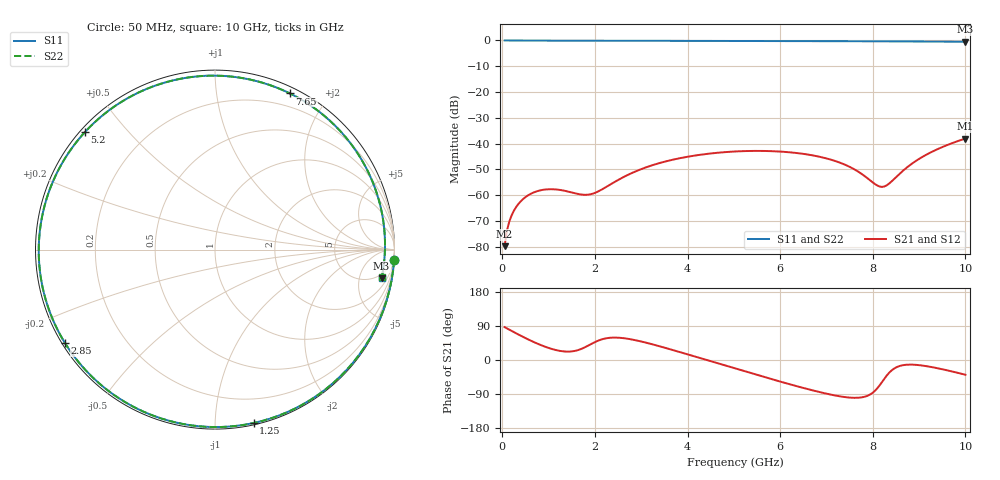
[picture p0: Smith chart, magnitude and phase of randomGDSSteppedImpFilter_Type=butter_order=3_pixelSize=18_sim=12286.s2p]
! freq	dB(S11)	phase(S11)	dB(S12)	phase(S12)
!  dB(S21)	phase(S21)	dB(S22)	phase(S22)
!S-par simulation data
#  GHz  S  DB  R 50
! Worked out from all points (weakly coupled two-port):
!   200 points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, 50 MHz to 10 GHz, reference 50 ohm
!   highest |S21| = -38.03 dB at 10 GHz (marker M1); lowest = -79.8 dB at 50 MHz (marker M2)
!   lowest |S11| = -0.5 dB at 10 GHz (marker M3), VSWR 33.32, Z = 185 - j521 ohm
!   |S11| at or under -10 dB: nowhere
!   |S22| runs from -0.5 to 0.0 dB; largest |S21 - S12| = 0
!   S11 on the Smith chart (normalised r, x): 50 MHz: 0, -34; 1.25 GHz: 0.01, -1.25; 2.85 GHz: 0.01, -0.29; 5.2 GHz: 0.01, +0.38; 7.65 GHz: 0.06, +1.59; 10 GHz: 4, -10
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0.05  -0.00 -3.4  -79.78 86.7  -79.78 86.7  -0.00 -3.4
0.1  -0.01 -6.7  -73.79 83.4  -73.79 83.4  -0.01 -6.7
0.15  -0.01 -10.0  -70.32 80.1  -70.32 80.1  -0.01 -10.0
0.25  -0.03 -16.7  -66.04 73.6  -66.04 73.6  -0.03 -16.6
0.4  -0.04 -26.4  -62.35 64.0  -62.35 64.0  -0.04 -26.4
0.75  -0.06 -48.5  -58.48 43.6  -58.48 43.6  -0.06 -48.5
1.25  -0.09 -77.5  -57.98 23.9  -57.98 23.9  -0.09 -77.5
1.75  -0.11 -102.8  -59.84 31.6  -59.84 31.6  -0.11 -102.8
2  -0.12 -114.2  -59.12 47.2  -59.12 47.2  -0.11 -114.2
2.3  -0.12 -127.0  -56.22 58.3  -56.22 58.3  -0.12 -127.0
2.85  -0.13 -148.1  -51.00 52.9  -51.00 52.9  -0.13 -148.1
3.4  -0.15 -167.1  -47.53 36.1  -47.53 36.1  -0.15 -167.1
4.2  -0.17 167.6  -44.53 7.7  -44.53 7.7  -0.17 167.7
5.05  -0.20 142.4  -43.04 -23.2  -43.04 -23.2  -0.20 142.4
5.2  -0.21 138.0  -42.93 -28.6  -42.93 -28.6  -0.21 138.0
6  -0.24 114.5  -43.10 -56.9  -43.10 -56.9  -0.24 114.6
6.7  -0.27 93.6  -44.56 -80.1  -44.56 -80.1  -0.27 93.7
7.65  -0.31 64.4  -50.48 -99.8  -50.48 -99.8  -0.31 64.6
8.15  -0.34 48.7  -56.66 -66.5  -56.66 -66.5  -0.34 48.9
8.35  -0.35 42.4  -55.55 -34.2  -55.55 -34.2  -0.35 42.6
9.05  -0.40 20.2  -45.39 -14.3  -45.39 -14.3  -0.40 20.4
10  -0.52 -9.8  -38.03 -38.9  -38.03 -38.9  -0.52 -9.5
